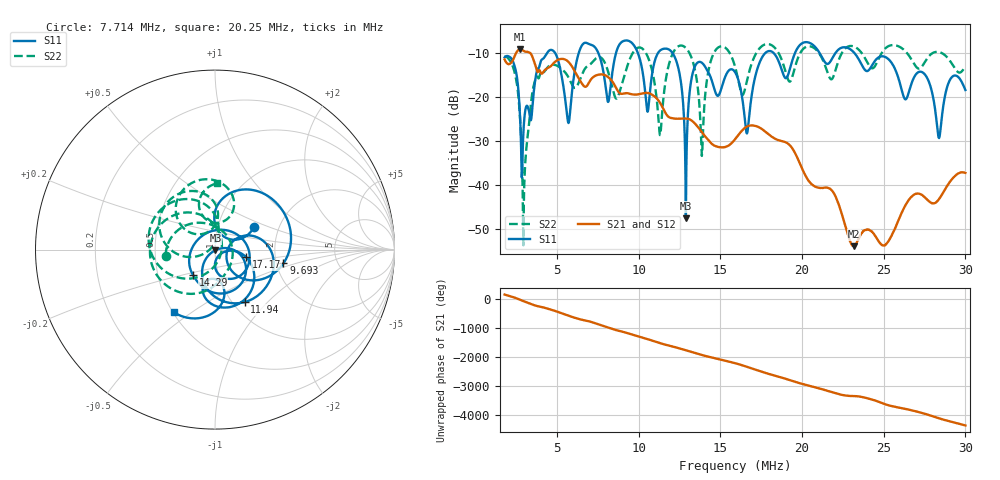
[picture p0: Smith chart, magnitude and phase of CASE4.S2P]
!Agilent Technologies,E5061B,MY49101568,A.02.00
!Date: Wed Mar 01 14:25:34 2023
!Data & Calibration Information:
!Freq	S11:SOLT2(OFF)	S21:SOLT2(OFF)	S12:SOLT2(OFF)	S22:SOLT2(OFF)
# Hz S dB R 50
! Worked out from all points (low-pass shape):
!   1155 points, 1.8 MHz to 30 MHz, reference 50 ohm
!   highest |S21| = -9.18 dB at 2.753 MHz (marker M1); lowest = -53.8 dB at 23.16 MHz (marker M2)
!   |S21| within 3 dB of the highest: 2.215 MHz to 3.624 MHz (1.409 MHz wide, 48.3 % of centre); 4.848 MHz to 5.74 MHz (892 kHz wide, 16.8 % of centre)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
!   lowest |S11| = -47.5 dB at 12.89 MHz (marker M3), VSWR 1.01, Z = 50.3 - j0.322 ohm
!   |S11| at or under -10 dB: start of sweep to 4.407 MHz; 12.07 MHz to 17.77 MHz (5.702 MHz wide, 38.2 % of centre); 23.2 MHz to end of sweep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
!   |S22| runs from -53.6 to -8.0 dB; largest |S21 - S12| = 0.0044
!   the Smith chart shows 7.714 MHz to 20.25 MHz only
!   S11 on the Smith chart (normalised r, x): 7.714 MHz: 1.49, +0.40; 9.693 MHz: 2.19, -0.39; 11.94 MHz: 1.14, -0.75; 14.29 MHz: 0.75, -0.22; 17.17 MHz: 1.42, -0.13; 20.25 MHz: 0.50, -0.43
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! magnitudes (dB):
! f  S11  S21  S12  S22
! 1.8 MHz  -11.1  -11.5  -11.5  -10.9
! 2.753 MHz  -25.1  -9.2  -9.2  -25.3
! 2.973 MHz  -26.5  -9.6  -9.6  -45.0
! 3.706 MHz  -15.4  -13.1  -13.2  -15.8
! 5.71 MHz  -25.9  -12.1  -12.1  -15.6
! 6.516 MHz  -8.4  -16.9  -16.8  -15.1
! 7.714 MHz  -12.0  -14.9  -14.8  -11.1
! 9.693 MHz  -8.2  -19.5  -19.5  -9.8
! 10.55 MHz  -23.4  -19.1  -19.1  -10.8
! 11.21 MHz  -9.9  -20.8  -20.8  -24.6
! 11.94 MHz  -9.5  -24.7  -24.8  -11.6
! 12.89 MHz  -47.5  -24.9  -24.9  -8.9
! 13.87 MHz  -12.3  -28.0  -28.0  -33.4
! 14.29 MHz  -14.6  -29.9  -29.9  -13.8
! 15.9 MHz  -14.4  -29.6  -29.7  -13.1
! 17.17 MHz  -14.9  -26.6  -26.7  -10.3
! 20.25 MHz  -7.6  -38.1  -38.1  -8.7
! 20.62 MHz  -8.1  -39.8  -39.8  -8.7
! 23.16 MHz  -9.8  -53.8  -53.6  -8.5
! 25.31 MHz  -11.5  -52.5  -52.5  -8.5
! 28.39 MHz  -29.3  -43.1  -43.1  -9.8
! 30 MHz  -18.4  -37.2  -37.2  -13.0
